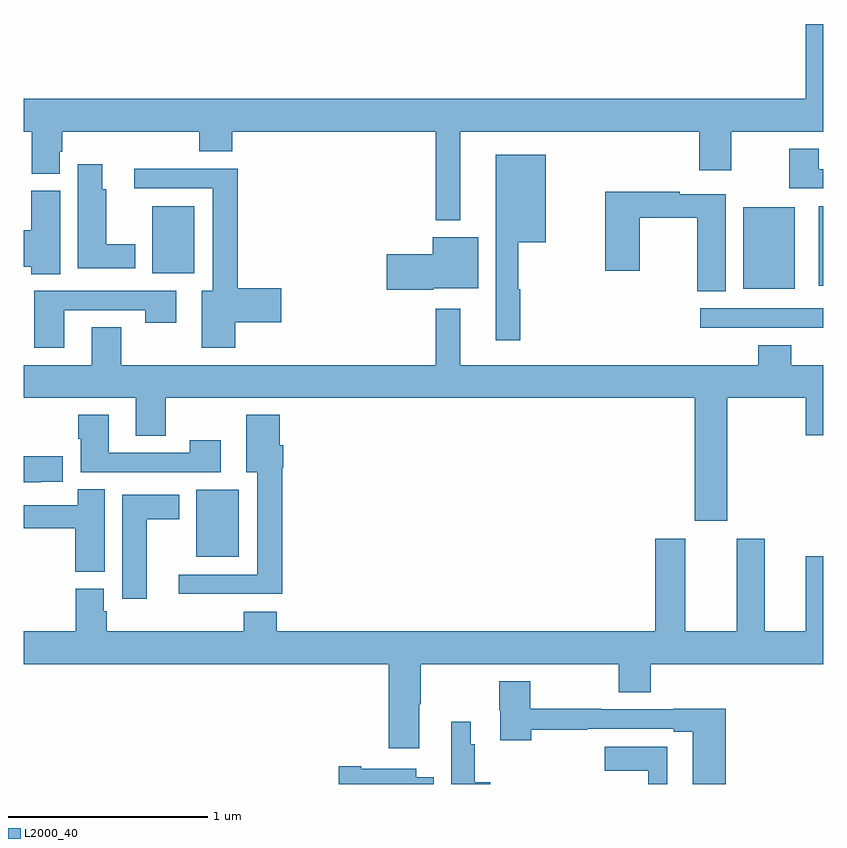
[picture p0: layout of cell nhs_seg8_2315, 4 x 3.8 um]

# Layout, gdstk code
import gdstk
lib = gdstk.Library(unit=1e-6, precision=1e-09)
def R(c, l, rs):  # rectangles x0, y0, x1, y1
    for r in rs: c.add(gdstk.rectangle(r[:2], r[2:], *l))
def P(c, l, *ps):  # polygons
    for p in ps: c.add(gdstk.Polygon(p, *l))
L2000_40 = (2000, 40)

nhs_seg8_2315 = lib.new_cell('nhs_seg8_2315')
R(nhs_seg8_2315, L2000_40, [(257.864,1117.037,258.076,1117.372), (260.385,1118.184,261,1118.28), (260.6,1118.378,260.857,1118.785), (260.978,1118.393,261,1118.791), (257.642,1118.456,257.854,1118.791)])
P(nhs_seg8_2315, L2000_40, [(259.183,1119.164),(260.381,1119.164),(260.381,1118.97),(260.541,1118.97),(260.541,1119.164),(261,1119.164),(261,1119.703),(260.912,1119.703),(260.912,1119.328),(257,1119.328),(257,1119.164),(257.039,1119.164),(257.039,1118.953),(257.179,1118.953),(257.179,1119.063),(257.192,1119.063),(257.192,1119.164),(257.879,1119.164),(257.879,1119.065),(258.044,1119.065),(258.044,1119.164),(259.062,1119.164),(259.062,1118.72),(259.183,1118.72)],
  [(261,1118.976),(260.977,1118.976),(260.977,1119.079),(260.83,1119.079),(260.83,1118.88),(261,1118.88)],
  [(259.483,1118.375),(259.475,1118.375),(259.475,1118.612),(259.612,1118.612),(259.612,1119.049),(259.361,1119.049),(259.361,1118.121),(259.483,1118.121)],
  [(257.557,1118.602),(257.413,1118.602),(257.413,1118.877),(257.392,1118.877),(257.392,1119.001),(257.27,1119.001),(257.27,1118.48),(257.557,1118.48)],
  [(258.058,1118.21),(258.289,1118.21),(258.289,1118.381),(258.071,1118.381),(258.071,1118.978),(257.553,1118.978),(257.553,1118.88),(257.945,1118.88),(257.945,1118.368),(257.891,1118.368),(257.891,1118.082),(258.058,1118.082)],
  [(257.182,1118.868),(257.036,1118.868),(257.036,1118.672),(257,1118.672),(257,1118.489),(257.036,1118.489),(257.036,1118.452),(257.182,1118.452)],
  [(260.512,1118.85),(260.282,1118.85),(260.282,1118.863),(259.909,1118.863),(259.909,1118.469),(260.082,1118.469),(260.082,1118.734),(260.371,1118.734),(260.371,1118.365),(260.512,1118.365)],
  [(259.05,1118.381),(259.273,1118.381),(259.273,1118.635),(259.046,1118.635),(259.046,1118.552),(258.816,1118.552),(258.816,1118.374),(259.05,1118.374)],
  [(257.203,1118.271),(257.608,1118.271),(257.608,1118.208),(257.764,1118.208),(257.764,1118.367),(257.051,1118.367),(257.051,1118.082),(257.203,1118.082)],
  [(260.521,1117.832),(260.912,1117.832),(260.912,1117.644),(261,1117.644),(261,1117.996),(260.84,1117.996),(260.84,1118.095),(260.675,1118.095),(260.675,1117.996),(259.183,1117.996),(259.183,1118.278),(259.062,1118.278),(259.062,1117.996),(257.487,1117.996),(257.487,1118.186),(257.339,1118.186),(257.339,1117.996),(257,1117.996),(257,1117.832),(257.561,1117.832),(257.561,1117.642),(257.709,1117.642),(257.709,1117.832),(260.357,1117.832),(260.357,1117.218),(260.521,1117.218)],
  [(257.986,1117.621),(257.83,1117.621),(257.83,1117.557),(257.425,1117.557),(257.425,1117.747),(257.273,1117.747),(257.273,1117.627),(257.285,1117.627),(257.285,1117.461),(257.986,1117.461)],
  [(258.293,1117.482),(258.298,1117.482),(258.298,1117.596),(258.28,1117.596),(258.28,1117.747),(258.113,1117.747),(258.113,1117.46),(258.167,1117.46),(258.167,1116.948),(257.775,1116.948),(257.775,1116.851),(258.293,1116.851)],
  [(257.084,1117.412),(257.196,1117.412),(257.196,1117.539),(257,1117.539),(257,1117.409),(257.084,1117.409)],
  [(257.404,1117.376),(257.269,1117.376),(257.269,1117.296),(257,1117.296),(257,1117.18),(257.258,1117.18),(257.258,1116.961),(257.404,1116.961)],
  [(257.614,1117.226),(257.779,1117.226),(257.779,1117.348),(257.492,1117.348),(257.492,1116.828),(257.614,1116.828)],
  [(258.979,1116.298),(258.987,1116.298),(258.987,1116.5),(259.978,1116.5),(259.978,1116.358),(260.138,1116.358),(260.138,1116.5),(261,1116.5),(261,1117.039),(260.912,1117.039),(260.912,1116.664),(260.707,1116.664),(260.707,1117.126),(260.567,1117.126),(260.567,1116.664),(260.311,1116.664),(260.311,1117.126),(260.159,1117.126),(260.159,1116.664),(258.266,1116.664),(258.266,1116.763),(258.101,1116.763),(258.101,1116.664),(257.414,1116.664),(257.414,1116.765),(257.401,1116.765),(257.401,1116.876),(257.261,1116.876),(257.261,1116.664),(257,1116.664),(257,1116.5),(258.827,1116.5),(258.827,1116.078),(258.979,1116.078)],
  [(260.513,1116.276),(260.252,1116.276),(260.252,1116.273),(259.889,1116.273),(259.889,1116.276),(259.533,1116.276),(259.533,1116.415),(259.378,1116.415),(259.378,1116.27),(259.385,1116.27),(259.385,1116.12),(259.538,1116.12),(259.538,1116.172),(259.82,1116.172),(259.82,1116.177),(260.252,1116.177),(260.252,1116.161),(260.348,1116.161),(260.348,1115.9),(260.513,1115.9)],
  [(259.333,1115.908),(259.256,1115.908),(259.256,1116.098),(259.237,1116.098),(259.237,1116.211),(259.139,1116.211),(259.139,1115.989),(259.14,1115.989),(259.14,1115.9),(259.333,1115.9)],
  [(260.22,1116.087),(259.908,1116.087),(259.908,1115.966),(260.124,1115.966),(260.124,1115.9),(260.22,1115.9)],
  [(259.051,1115.935),(258.964,1115.935),(258.964,1115.977),(258.688,1115.977),(258.688,1115.99),(258.576,1115.99),(258.576,1115.9),(259.051,1115.9)])

lib.write_gds('nhs_seg8_2315.gds')
